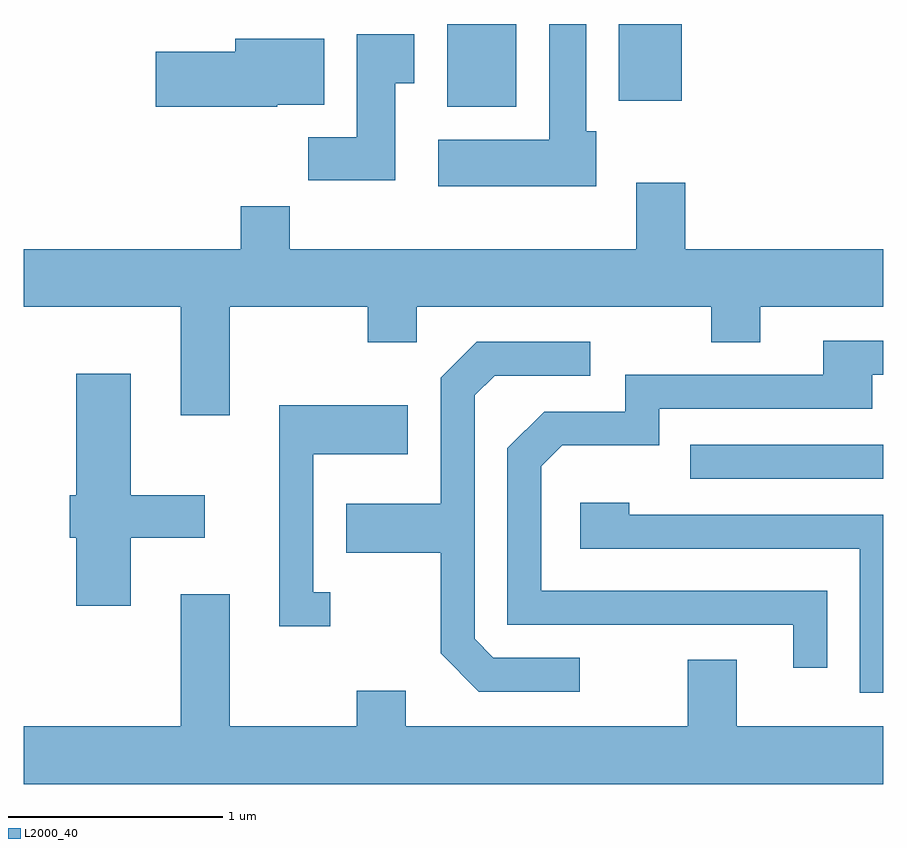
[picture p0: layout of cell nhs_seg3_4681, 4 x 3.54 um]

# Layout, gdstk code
import gdstk
lib = gdstk.Library(unit=1e-6, precision=1e-09)
def R(c, l, rs):  # rectangles x0, y0, x1, y1
    for r in rs: c.add(gdstk.rectangle(r[:2], r[2:], *l))
def P(c, l, *ps):  # polygons
    for p in ps: c.add(gdstk.Polygon(p, *l))
L2000_40 = (2000, 40)

nhs_seg3_4681 = lib.new_cell('nhs_seg3_4681')
R(nhs_seg3_4681, L2000_40, [(324.713,1231.776,325.611,1231.934), (323.581,1233.506,323.904,1233.892), (324.381,1233.536,324.674,1233.892)])
P(nhs_seg3_4681, L2000_40, [(324.274,1233.394),(324.229,1233.394),(324.229,1233.892),(324.056,1233.892),(324.056,1233.354),(323.541,1233.354),(323.541,1233.136),(324.274,1233.136)],
  [(323.339,1233.616),(323.429,1233.616),(323.429,1233.844),(323.161,1233.844),(323.161,1233.364),(322.936,1233.364),(322.936,1233.166),(323.339,1233.166)],
  [(322.79,1233.516),(323.009,1233.516),(323.009,1233.824),(322.596,1233.824),(322.596,1233.764),(322.226,1233.764),(322.226,1233.506),(322.79,1233.506)],
  [(322.569,1232.576),(323.211,1232.576),(323.211,1232.411),(323.439,1232.411),(323.439,1232.576),(324.811,1232.576),(324.811,1232.411),(325.039,1232.411),(325.039,1232.576),(325.611,1232.576),(325.611,1232.844),(324.689,1232.844),(324.689,1233.154),(324.461,1233.154),(324.461,1232.844),(322.849,1232.844),(322.849,1233.044),(322.621,1233.044),(322.621,1232.844),(321.611,1232.844),(321.611,1232.576),(322.341,1232.576),(322.341,1232.071),(322.569,1232.071)],
  [(325.349,1231.254),(324.019,1231.254),(324.019,1231.834),(324.117,1231.931),(324.569,1231.931),(324.569,1232.101),(325.559,1232.101),(325.559,1232.261),(325.611,1232.261),(325.611,1232.419),(325.331,1232.419),(325.331,1232.259),(324.411,1232.259),(324.411,1232.089),(324.034,1232.089),(323.861,1231.917),(323.861,1231.096),(325.191,1231.096),(325.191,1230.898),(325.349,1230.898)],
  [(324.198,1230.944),(323.797,1230.944),(323.709,1231.032),(323.709,1232.164),(323.802,1232.256),(324.248,1232.256),(324.248,1232.414),(323.719,1232.414),(323.551,1232.247),(323.551,1231.659),(323.111,1231.659),(323.111,1231.431),(323.551,1231.431),(323.551,1230.964),(323.729,1230.786),(324.198,1230.786)],
  [(322.109,1231.501),(322.454,1231.501),(322.454,1231.699),(322.109,1231.699),(322.109,1232.264),(321.856,1232.264),(321.856,1231.699),(321.826,1231.699),(321.826,1231.501),(321.856,1231.501),(321.856,1231.186),(322.109,1231.186)],
  [(323.038,1231.249),(322.959,1231.249),(322.959,1231.891),(323.399,1231.891),(323.399,1232.119),(322.801,1232.119),(322.801,1231.091),(323.038,1231.091)],
  [(325.611,1231.609),(324.429,1231.609),(324.429,1231.664),(324.201,1231.664),(324.201,1231.451),(325.501,1231.451),(325.501,1230.781),(325.611,1230.781)],
  [(325.611,1230.624),(324.929,1230.624),(324.929,1230.934),(324.701,1230.934),(324.701,1230.624),(323.389,1230.624),(323.389,1230.789),(323.161,1230.789),(323.161,1230.624),(322.569,1230.624),(322.569,1231.239),(322.341,1231.239),(322.341,1230.624),(321.611,1230.624),(321.611,1230.356),(325.611,1230.356)])

lib.write_gds('nhs_seg3_4681.gds')
